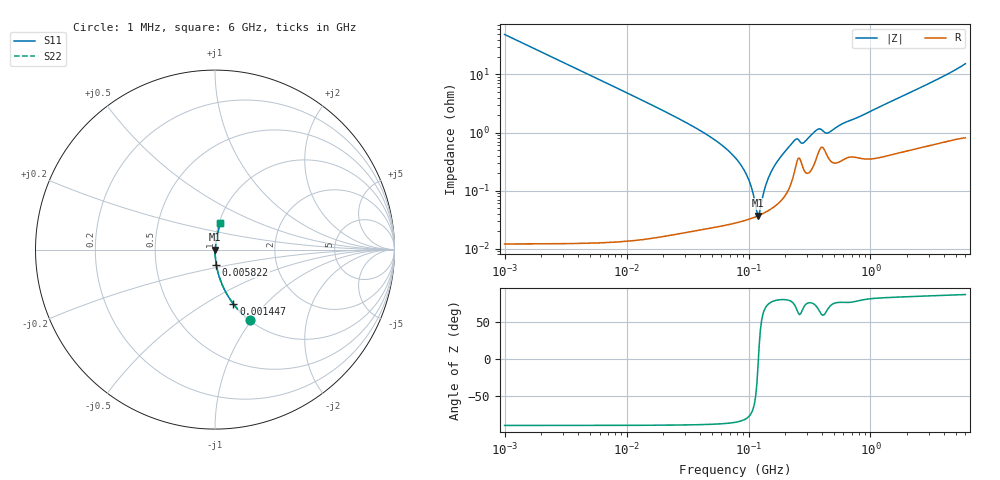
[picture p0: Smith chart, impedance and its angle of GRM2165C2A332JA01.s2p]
!Murata Part Number: GRM2165C2A332JA01
!These Parameters are Measured in Series Mode Connection
!Data Generated on Mar 30, 2021
!  o--ll--o
!Port1  Port2
!  o------o
!Operation Temp=25[degC], DC Bias Voltage=0[V]
!Freq. Start=1000[kHz] Stop=6[GHz] 401[Steps]
# Hz S RI R 50
!Freq.(Hz) S11(Real) S11(Imag) S21(Real) S21(Imag) S12(Real) S12(Imag) S22(Real) S22(Imag)
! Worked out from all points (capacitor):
!   401 points, 1 MHz to 6 GHz, reference 50 ohm
!   read as one part in series: C = 3.25 nF near 1.044 MHz
!   lowest |Z| = 37.2 mohm at 119.7 MHz (marker M1)
!   series resonance near 120.5 MHz, so ESL is about 540 pH
!   S11 on the Smith chart (normalised r, x): 1 MHz: 1.00, -0.98; 1.447 MHz: 1.00, -0.68; 5.822 MHz: 1.00, -0.17; 6 GHz: 1.02, +0.31
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1000000  0.1933 -0.3947  0.8067 0.3947  0.8067 0.3947  0.1933 -0.3947
1447343  0.1027 -0.3033  0.8973 0.3033  0.8973 0.3033  0.1027 -0.3033
4293785  0.0129 -0.1123  0.9871 0.1123  0.9871 0.1123  0.0129 -0.1123
5822046  0.0071 -0.0832  0.9929 0.0832  0.9929 0.0832  0.0071 -0.0832
1.843659e7  0.000826 -0.0259  0.9992 0.0259  0.9992 0.0259  0.000826 -0.0259
4.697123e7  0.0003 -0.00882  0.9997 0.00882  0.9997 0.00882  0.0003 -0.00882
7.745967e7  0.000288 -0.00372  0.9997 0.00372  0.9997 0.00372  0.000288 -0.00372
9.83954e7  0.000318 -0.00167  0.9997 0.00167  0.9997 0.00167  0.000318 -0.00167
1.050294e8  0.000332 -0.00113  0.9997 0.00113  0.9997 0.00113  0.000332 -0.00113
1.170949e8  0.00036 -0.000236  0.9996 0.000236  0.9996 0.000236  0.00036 -0.000236
1.196694e8  0.000367 -5.65e-05  0.9996 5.65e-05  0.9996 5.65e-05  0.000367 -5.65e-05
1.249896e8  0.000382 0.000303  0.9996 -0.000303  0.9996 -0.000303  0.000382 0.000303
1.363501e8  0.000419 0.00103  0.9996 -0.00103  0.9996 -0.00103  0.000419 0.00103
1.455431e8  0.000454 0.00159  0.9995 -0.00159  0.9995 -0.00159  0.000454 0.00159
1.732027e8  0.000596 0.00317  0.9994 -0.00317  0.9994 -0.00317  0.000596 0.00317
2.400133e8  0.00232 0.00704  0.9977 -0.00704  0.9977 -0.00704  0.00232 0.00704
2.794814e8  0.00251 0.00606  0.9975 -0.00606  0.9975 -0.00606  0.00251 0.00606
3.325952e8  0.00247 0.00909  0.9975 -0.00909  0.9975 -0.00909  0.00247 0.00909
3.789555e8  0.00491 0.0104  0.9951 -0.0104  0.9951 -0.0104  0.00491 0.0104
4.509737e8  0.00373 0.00914  0.9963 -0.00914  0.9963 -0.00914  0.00373 0.00914
1.428092e9  0.00511 0.0328  0.9949 -0.0328  0.9949 -0.0328  0.00511 0.0328
6e9  0.0304 0.1474  0.9696 -0.1474  0.9696 -0.1474  0.0304 0.1474
